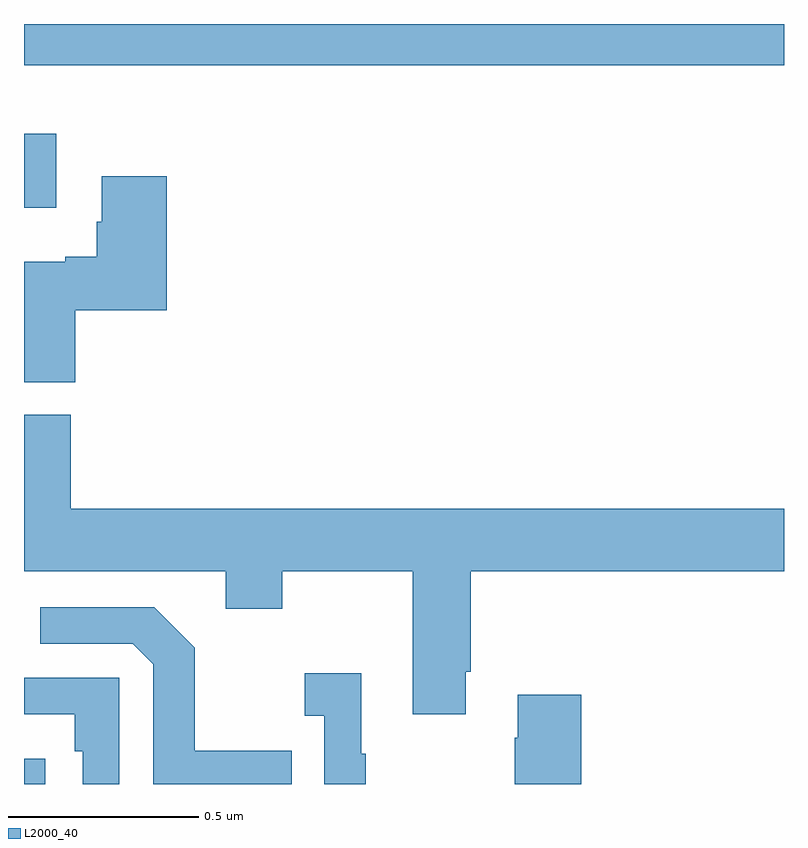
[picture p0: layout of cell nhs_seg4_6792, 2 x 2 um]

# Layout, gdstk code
import gdstk
lib = gdstk.Library(unit=1e-6, precision=1e-09)
def R(c, l, rs):  # rectangles x0, y0, x1, y1
    for r in rs: c.add(gdstk.rectangle(r[:2], r[2:], *l))
def P(c, l, *ps):  # polygons
    for p in ps: c.add(gdstk.Polygon(p, *l))
L2000_40 = (2000, 40)

nhs_seg4_6792 = lib.new_cell('nhs_seg4_6792')
R(nhs_seg4_6792, L2000_40, [(194,822.9,194.056,822.966), (194,824.417,194.085,824.611), (194,824.792,196,824.9)])
P(nhs_seg4_6792, L2000_40, [(194.135,824.147),(194.375,824.147),(194.375,824.5),(194.204,824.5),(194.204,824.379),(194.192,824.379),(194.192,824.288),(194.108,824.288),(194.108,824.275),(194,824.275),(194,823.957),(194.135,823.957)],
  [(195.163,823.195),(195.176,823.195),(195.176,823.46),(196,823.46),(196,823.624),(194.123,823.624),(194.123,823.872),(194,823.872),(194,823.46),(194.531,823.46),(194.531,823.361),(194.679,823.361),(194.679,823.46),(195.023,823.46),(195.023,823.083),(195.163,823.083)],
  [(194.705,822.987),(194.449,822.987),(194.449,823.259),(194.343,823.365),(194.043,823.365),(194.043,823.269),(194.286,823.269),(194.34,823.215),(194.34,822.9),(194.705,822.9)],
  [(194.899,822.979),(194.887,822.979),(194.887,823.192),(194.739,823.192),(194.739,823.079),(194.79,823.079),(194.79,822.9),(194.899,822.9)],
  [(194.25,823.179),(194,823.179),(194,823.083),(194.134,823.083),(194.134,822.986),(194.154,822.986),(194.154,822.9),(194.25,822.9)],
  [(195.467,823.135),(195.299,823.135),(195.299,823.022),(195.292,823.022),(195.292,822.9),(195.467,822.9)])

lib.write_gds('nhs_seg4_6792.gds')
